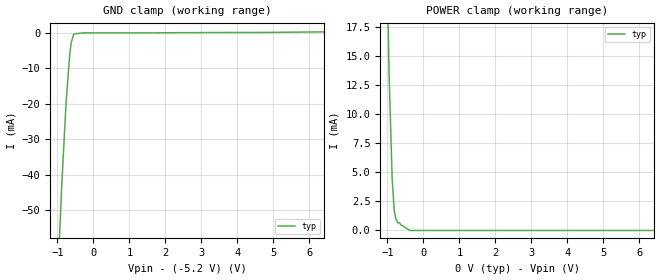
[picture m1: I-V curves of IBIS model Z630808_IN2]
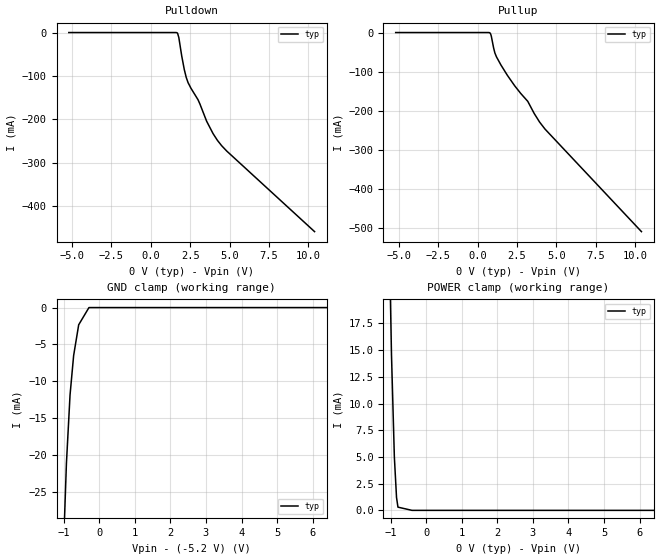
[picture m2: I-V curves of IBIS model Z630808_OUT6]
| YOU ARE ONLY AUTHORIZED TO USE THIS SOFTWARE
| ACCORDING TO LICENSOR'S LICENSE RESTRICTIONS.
[IBIS Ver] 3.1
[File Name] mc10ep05d_-52.ibs
[File Rev] 1
[Source] Derived from mc10ep16d_-52.ibs Measured and
|   created by ICX Technology
[Date] 6/17/2002
[Copyright]
| (C) COPYRIGHT 1993-2000
| MENTOR GRAPHICS CORPORATION
| ICX STANDARD LIBRARY, ICX PROJECT MODELING,
| ICX CUSTOM MODELING, ICX VENDOR MODEL
| ALL RIGHTS RESERVED.
| THE FOLLOWING ARE TRADEMARKS OR SERVICE MARKS OF
| MENTOR GRAPHICS CORPORATION:ICX (R), ICX STANDARD
| LIBRARY(R), ICX PROJECT MODELING(R), ICX CUSTOM
| MODELING(R), qualityIBIS(TM), MODELVIEWER(TM),
| AND MODELEDITOR(TM)
| ALL COPIES OF SOFTWARE, INCLUDING BUT NOT LIMITED TO
| ANY MODIFICATIONS, ENHANCEMENTS OR DERIVATIVE WORKS,
| MUST CONTAIN ALL MENTOR GRAPHICS CORPORATION'S
| NOTICES AND LEGENDS, INCLUDING THOSE EMBEDDED IN
| SOFTWARE AND THOSE AFFIXED TO SOFTWARE MEDIUM
| AND CONTAINER, AS RECEIVED FROM MENTOR GRAPHICS
| CORPORATION.
|  ZAP Model Builder 2.8
[Component] MC10EP05D_-52
[Manufacturer] ON
[Package]
| variable   typ   min   max
R_pkg  .152ohms NA NA
L_pkg  2.714nH NA NA
C_pkg  .364pF NA NA
[Pin] signal_name  model_name  R_pin  L_pin C_pin
1 D0 Z630808_IN2 .15 2.504n .354p
2 _D0 Z630808_IN2 .15 2.504n .354p
3 D1 Z630808_IN2 .15 2.504n .354p
4 _D1 Z630808_IN2 .15 2.504n .354p
5 VEE POWER .154 2.924n .374p
6 _Q Z630808_OUT6 .15 2.504n .354p
7 Q Z630808_OUT6 .15 2.504n .354p
8 VCC POWER .154 2.924n .374p
[Diff Pin] inv_pin vdiff tdelay_typ tdelay_min tdelay_max
1 2 150mv NA NA NA
3 4 150mv NA NA NA
7 6 NA .005ns NA .02ns
| Models and submodels in the file (2): Z630808_IN2 (Input_ECL), Z630808_OUT6 (Output_ECL)
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| (C) COPYRIGHT 1993-2000
| MENTOR GRAPHICS CORPORATION
| ICX STANDARD LIBRARY, ICX PROJECT MODELING,
| ICX CUSTOM MODELING, ICX VENDOR MODEL
| ALL RIGHTS RESERVED.
| THE FOLLOWING ARE TRADEMARKS OR SERVICE MARKS OF
| MENTOR GRAPHICS CORPORATION:ICX (R), ICX STANDARD
| LIBRARY(R), ICX PROJECT MODELING(R), ICX CUSTOM
| MODELING(R), qualityIBIS(TM), MODELVIEWER(TM),
| AND MODELEDITOR(TM)
| ALL COPIES OF SOFTWARE, INCLUDING BUT NOT LIMITED TO
| ANY MODIFICATIONS, ENHANCEMENTS OR DERIVATIVE WORKS,
| MUST CONTAIN ALL MENTOR GRAPHICS CORPORATION'S
| NOTICES AND LEGENDS, INCLUDING THOSE EMBEDDED IN
| SOFTWARE AND THOSE AFFIXED TO SOFTWARE MEDIUM
| AND CONTAINER, AS RECEIVED FROM MENTOR GRAPHICS
| CORPORATION.
| Model Application Version 1.89 2/18/99.
[Model] Z630808_IN2
Model_type Input_ECL
Vinl = -1.545V
Vinh = -1.145V
C_comp 1.000pF NA NA
| variable typ   min   max
[Voltage Range] -5.200V NA NA
[GND Clamp Reference] -5.200V NA NA
[POWER Clamp Reference] 0.000V NA NA
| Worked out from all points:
|   GND clamp passes 1 mA (typ) near -0.57 V on its own axis
|   POWER clamp passes 1 mA (typ) near -0.76 V on its own axis
[GND Clamp]
-5.2V     -1.066A    NA         NA
-881mV    -42.9mA    NA         NA
-760mV    -19.5mA    NA         NA
-658mV    -6mA       NA         NA
-618mV    -2.8mA     NA         NA
-557mV    -600uA     NA         NA
-536mV    -300uA     NA         NA
-268mV    0A         NA         NA
1.521V    0A         NA         NA
3.518V    100uA      NA         NA
4.551V    100uA      NA         NA
10.4V     665.9uA    NA         NA
[POWER Clamp]
-5.2V     825.9mA    NA         NA
-1.054V   29.24mA    NA         NA
-953mV    13.25mA    NA         NA
-871mV    4.553mA    NA         NA
-811mV    1.659mA    NA         NA
-770mV    1.063mA    NA         NA
-719.5mV  672.5uA    NA         NA
-669mV    672.5uA    NA         NA
-628mV    476.5uA    NA         NA
-567mV    382.4uA    NA         NA
-378mV    0A         NA         NA
10.4V     0A         NA         NA
| (C) COPYRIGHT 1993-2000
| MENTOR GRAPHICS CORPORATION
| ICX STANDARD LIBRARY, ICX PROJECT MODELING,
| ICX CUSTOM MODELING, ICX VENDOR MODEL
| ALL RIGHTS RESERVED.
| THE FOLLOWING ARE TRADEMARKS OR SERVICE MARKS OF
| MENTOR GRAPHICS CORPORATION:ICX (R), ICX STANDARD
| LIBRARY(R), ICX PROJECT MODELING(R), ICX CUSTOM
| MODELING(R), qualityIBIS(TM), MODELVIEWER(TM),
| AND MODELEDITOR(TM)
| ALL COPIES OF SOFTWARE, INCLUDING BUT NOT LIMITED TO
| ANY MODIFICATIONS, ENHANCEMENTS OR DERIVATIVE WORKS,
| MUST CONTAIN ALL MENTOR GRAPHICS CORPORATION'S
| NOTICES AND LEGENDS, INCLUDING THOSE EMBEDDED IN
| SOFTWARE AND THOSE AFFIXED TO SOFTWARE MEDIUM
| AND CONTAINER, AS RECEIVED FROM MENTOR GRAPHICS
| CORPORATION.
| Model Application Version 1.89 2/18/99.
[Model] Z630808_OUT6
Model_type Output_ECL
Vref=-2.000V
Rref=50.00ohms
Cref=0.000F
Vmeas=-1.345V
C_comp 2.000pF NA NA
| variable typ   min   max
[Voltage Range] -5.200V NA NA
[POWER Clamp Reference] 0.000V NA NA
[Pullup Reference] 0.000V NA NA
[Pulldown Reference] 0.000V NA NA
[GND Clamp Reference] -5.200V NA NA
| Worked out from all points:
|   POWER clamp passes 1 mA (typ) near -0.82 V on its own axis
[GND Clamp]
-5.2V     -617.9mA   NA         NA
-922mV    -21.13mA   NA         NA
-820mV    -11.83mA   NA         NA
-719mV    -6.5mA     NA         NA
-577mV    -2.333mA   NA         NA
-288.5mV  0A         NA         NA
10.4V     0A         NA         NA
[Pulldown]
-5.2V     0A         NA         NA
1.703V    -1.6mA     NA         NA
1.784V    -11.8mA    NA         NA
1.966V    -53.9mA    NA         NA
2.128V    -85.1mA    NA         NA
2.25V     -103.2mA   NA         NA
2.371V    -115.7mA   NA         NA
3V        -154.9mA   NA         NA
3.547V    -204.5mA   NA         NA
4.236V    -248.9mA   NA         NA
4.824V    -273.4mA   NA         NA
10.4V     -459.3mA   NA         NA
[Pullup]
-5.2V     0A         NA         NA
791mV     -1.2mA     NA         NA
872mV     -9.8mA     NA         NA
1.014V    -39.1mA    NA         NA
1.095V    -52.1mA    NA         NA
1.48V     -82.9mA    NA         NA
2.351V    -136mA     NA         NA
3.183V    -175.8mA   NA         NA
3.588V    -206.6mA   NA         NA
3.932V    -228.7mA   NA         NA
4.277V    -246.7mA   NA         NA
10.4V     -508.8mA   NA         NA
[POWER Clamp]
-5.2V     755.7mA    NA         NA
-973mV    14.6mA     NA         NA
-892mV    5mA        NA         NA
-831mV    1.2mA      NA         NA
-791mV    300uA      NA         NA
-395.5mV  0A         NA         NA
10.4V     0A         NA         NA
[Ramp]
| variable typ min max
dV/dt_r 482.6m/97.77p NA NA
dV/dt_f 482.6m/87.03p NA NA
R_load = 50.00Ohms
